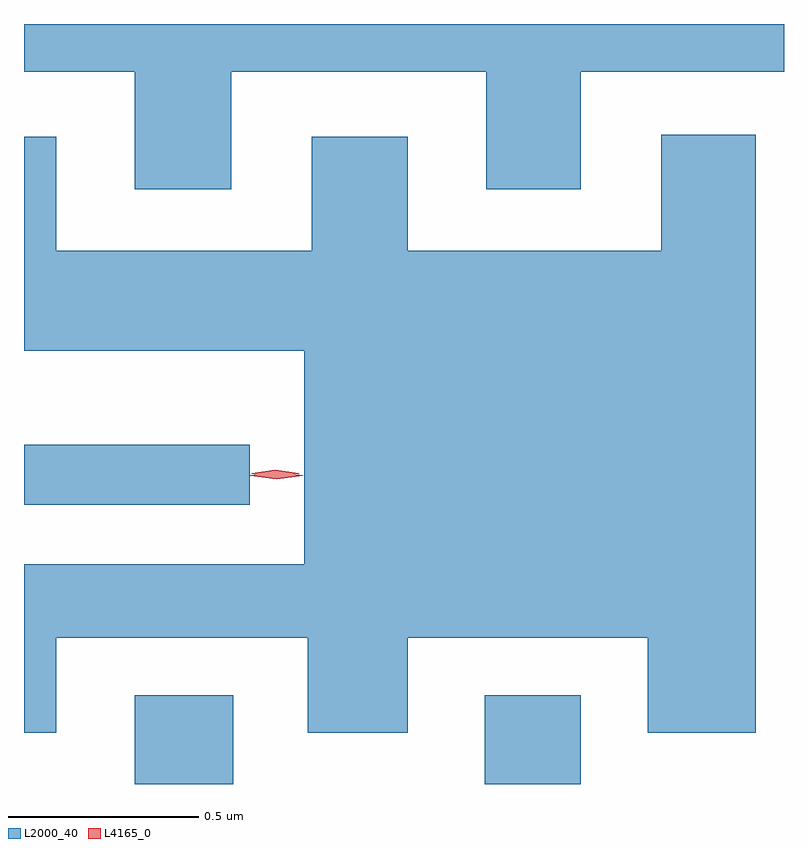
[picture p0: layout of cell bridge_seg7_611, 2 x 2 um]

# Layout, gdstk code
import gdstk
lib = gdstk.Library(unit=1e-6, precision=1e-09)
def R(c, l, rs):  # rectangles x0, y0, x1, y1
    for r in rs: c.add(gdstk.rectangle(r[:2], r[2:], *l))
def P(c, l, *ps):  # polygons
    for p in ps: c.add(gdstk.Polygon(p, *l))
L2000_40 = (2000, 40)
L4165_0 = (4165, 0)

bridge_seg7_611 = lib.new_cell('bridge_seg7_611')
R(bridge_seg7_611, L2000_40, [(635.766,1801.241,636.024,1801.474), (636.686,1801.241,636.939,1801.474), (635.474,1801.976,636.068,1802.134)])
P(bridge_seg7_611, L2000_40, [(636.019,1803.116),(636.691,1803.116),(636.691,1802.806),(636.939,1802.806),(636.939,1803.116),(637.474,1803.116),(637.474,1803.241),(635.474,1803.241),(635.474,1803.116),(635.766,1803.116),(635.766,1802.806),(636.019,1802.806)],
  [(635.559,1801.626),(636.221,1801.626),(636.221,1801.376),(636.484,1801.376),(636.484,1801.626),(637.116,1801.626),(637.116,1801.376),(637.399,1801.376),(637.399,1802.949),(637.151,1802.949),(637.151,1802.644),(636.484,1802.644),(636.484,1802.944),(636.231,1802.944),(636.231,1802.644),(635.559,1802.644),(635.559,1802.944),(635.474,1802.944),(635.474,1802.381),(636.211,1802.381),(636.211,1801.819),(635.474,1801.819),(635.474,1801.376),(635.559,1801.376)])
P(bridge_seg7_611, L4165_0, [(636.139,1802.043),(636.07,1802.052),(636.07,1802.053),(636.07,1802.053),(636.139,1802.063),(636.207,1802.053),(636.208,1802.053),(636.207,1802.052)],
  [(636.135,1802.048),(636.073,1802.058),(636.073,1802.058),(636.073,1802.059),(636.135,1802.068),(636.197,1802.059),(636.198,1802.059),(636.197,1802.058)])

lib.write_gds('bridge_seg7_611.gds')
